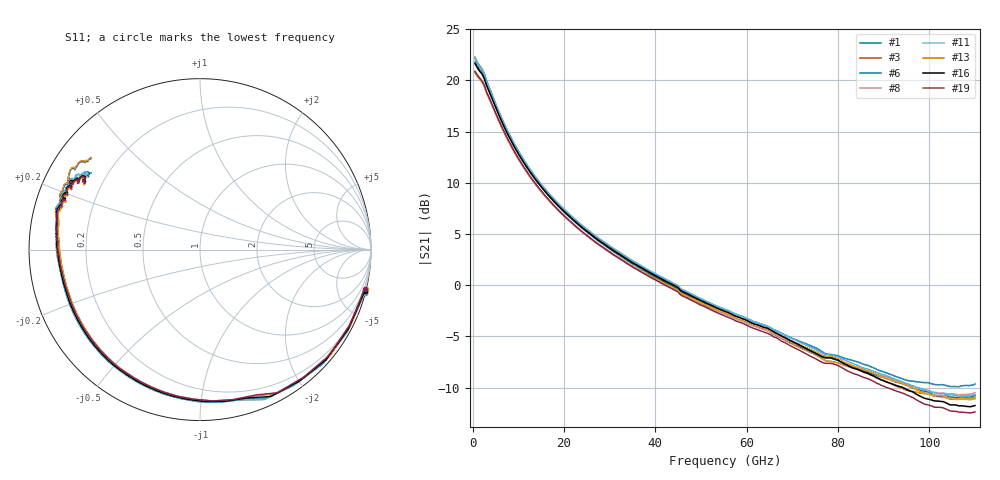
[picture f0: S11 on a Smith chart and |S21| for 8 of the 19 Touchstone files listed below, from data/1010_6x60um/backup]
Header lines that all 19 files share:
!Date = 8/23/2019
!Test duration(min) = 0.15
!Test = S-Parameters
!MPTS version = 8.91.5
!State File = C:\Data\PNA\20190821205423\S-Parameters_2019-08-23.sta
!Cal File =
!ComputerName = CMPE-LAB-6
!Comments =
!Input Power(dBm) = -13.00
!Device ID = EG0520U_1010_6x60_2SDBCB2EV
!Technology = QPHT09
!Lot/Wafer = 1915934D06
!Gate Size = 360
!Mask = EG0520
!Cal Standards = GaAs BCB
!Cal Kit = EG2306
!Job Number = 20190821205423
!Device Type = FET
!set_Vg(v) = -1.500
# GHz  S  DB  R  50
Fixed: Attenuation = 0, Z0 = 50
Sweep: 500 MHz to 110 GHz
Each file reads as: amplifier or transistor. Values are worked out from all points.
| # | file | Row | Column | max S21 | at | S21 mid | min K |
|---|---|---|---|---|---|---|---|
| 1 | EG0520U_1010_6x60_2SDBCB2EV_1915934D06_RC2943_2.5Vd_45mA.s2p | 29 | 43 | 22.1 dB | 500 MHz | -2.4 dB at 55.5 GHz | -0.86 |
| 2 | EG0520U_1010_6x60_2SDBCB2EV_1915934D06_RC2943_3Vd_36mA.s2p | 29 | 43 | 21.7 dB | 500 MHz | -2.8 dB at 55.5 GHz | -1.07 |
| 3 | EG0520U_1010_6x60_2SDBCB2EV_1915934D06_RC2943_4Vd_45mA.s2p | 29 | 43 | 22.3 dB | 500 MHz | -2.8 dB at 55.5 GHz | -1.37 |
| 4 | EG0520U_1010_6x60_2SDBCB2EV_1915934D06_RC2952_2.5Vd_18mA.s2p | 29 | 52 | 19.8 dB | 500 MHz | -3.6 dB at 55.5 GHz | -1.43 |
| 5 | EG0520U_1010_6x60_2SDBCB2EV_1915934D06_RC2952_2.5Vd_54mA.s2p | 29 | 52 | 22.6 dB | 500 MHz | -2.3 dB at 55.5 GHz | -1.23 |
| 6 | EG0520U_1010_6x60_2SDBCB2EV_1915934D06_RC2952_3Vd_36mA.s2p | 29 | 52 | 21.8 dB | 500 MHz | -2.8 dB at 55.5 GHz | -1.61 |
| 7 | EG0520U_1010_6x60_2SDBCB2EV_1915934D06_RC2952_3Vd_45mA.s2p | 29 | 52 | 22.3 dB | 500 MHz | -2.6 dB at 55.5 GHz | -1.60 |
| 8 | EG0520U_1010_6x60_2SDBCB2EV_1915934D06_RC4034_2.5Vd_27mA.s2p | 40 | 34 | 20.8 dB | 500 MHz | -2.9 dB at 55.5 GHz | -1.12 |
| 9 | EG0520U_1010_6x60_2SDBCB2EV_1915934D06_RC4034_3.5Vd_36mA.s2p | 40 | 34 | 21.7 dB | 500 MHz | -2.8 dB at 55.5 GHz | -1.71 |
| 10 | EG0520U_1010_6x60_2SDBCB2EV_1915934D06_RC4034_3Vd_18mA.s2p | 40 | 34 | 19.7 dB | 500 MHz | -3.5 dB at 55.5 GHz | -1.62 |
| 11 | EG0520U_1010_6x60_2SDBCB2EV_1915934D06_RC4034_3Vd_45mA.s2p | 40 | 34 | 22.2 dB | 500 MHz | -2.4 dB at 55.5 GHz | -1.37 |
| 12 | EG0520U_1010_6x60_2SDBCB2EV_1915934D06_RC4034_4Vd_36mA.s2p | 40 | 34 | 21.7 dB | 500 MHz | -2.9 dB at 55.5 GHz | -1.98 |
| 13 | EG0520U_1010_6x60_2SDBCB2EV_1915934D06_RC7325_2.5Vd_27mA.s2p | 73 | 25 | 20.7 dB | 500 MHz | -2.7 dB at 55.5 GHz | -1.07 |
| 14 | EG0520U_1010_6x60_2SDBCB2EV_1915934D06_RC7325_2.5Vd_45mA.s2p | 73 | 25 | 22.0 dB | 500 MHz | -2.1 dB at 55.5 GHz | -1.06 |
| 15 | EG0520U_1010_6x60_2SDBCB2EV_1915934D06_RC7325_3.5Vd_18mA.s2p | 73 | 25 | 19.7 dB | 500 MHz | -3.5 dB at 55.5 GHz | -1.98 |
| 16 | EG0520U_1010_6x60_2SDBCB2EV_1915934D06_RC7325_3.5Vd_36mA.s2p | 73 | 25 | 21.6 dB | 500 MHz | -2.6 dB at 55.5 GHz | -1.78 |
| 17 | EG0520U_1010_6x60_2SDBCB2EV_1915934D06_RC7325_3.5Vd_54mA.s2p | 73 | 25 | 22.5 dB | 500 MHz | -2.2 dB at 55.5 GHz | -1.72 |
| 18 | EG0520U_1010_6x60_2SDBCB2EV_1915934D06_RC7325_3Vd_18mA.s2p | 73 | 25 | 19.6 dB | 500 MHz | -3.4 dB at 55.5 GHz | -1.58 |
| 19 | EG0520U_1010_6x60_2SDBCB2EV_1915934D06_RC7325_4Vd_27mA.s2p | 73 | 25 | 20.9 dB | 500 MHz | -3.1 dB at 55.5 GHz | -2.16 |
